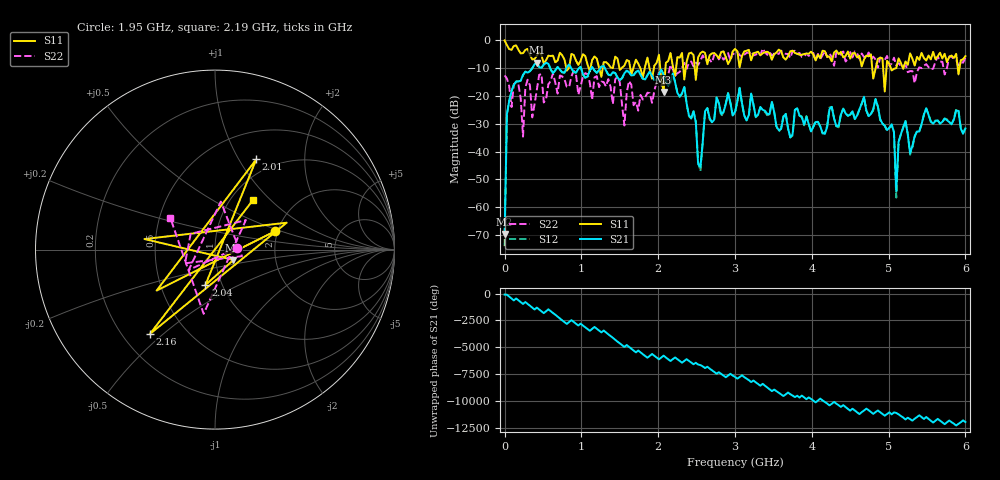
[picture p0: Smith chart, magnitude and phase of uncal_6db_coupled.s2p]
#  HZ  S  DB  R  50.0
! Rohde & Schwarz ZVL13 2Ports - Version 3.20 - 1303.6509k13 SN: 100953
! Date: 2024-10-09 08:19:45
! Data & Calibration Information:
! Trc1:S11(Cal Off) Trc4:S21(Cal Off) Trc2:S12(Cal Off) Trc3:S22(Cal Off)
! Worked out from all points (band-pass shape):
!   201 points, 9 kHz to 6 GHz, reference 50 ohm
!   highest |S21| = -7.99 dB at 420 MHz (marker M1); lowest = -69.6 dB at 9 kHz (marker M2)
!   |S21| within 3 dB of the highest: 332 MHz to 612.9 MHz (280.9 MHz wide, 59.5 % of centre); 1.221 GHz to 1.324 GHz (102.9 MHz wide, 8.08 % of centre) (the widest 2 of 9)
!   lowest |S11| = -18.6 dB at 2.07 GHz (marker M3), VSWR 1.27, Z = 61 - j7.17 ohm
!   |S11| at or under -10 dB: 1.767 GHz to 1.825 GHz (57.71 MHz wide, 3.21 % of centre); 1.888 GHz to 1.944 GHz (56.54 MHz wide, 2.95 % of centre); 2.027 GHz to 2.094 GHz (67.48 MHz wide, 3.27 % of centre) (the widest 3 of 16)
!   |S22| runs from -34.6 to -3.0 dB; largest |S21 - S12| = 0.0054
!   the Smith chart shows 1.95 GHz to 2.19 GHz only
!   S11 on the Smith chart (normalised r, x): 1.95 GHz: 1.94, +0.46; 2.01 GHz: 0.82, +1.19; 2.04 GHz: 0.83, -0.34; 2.16 GHz: 0.31, -0.45; 2.19 GHz: 1.26, +0.80
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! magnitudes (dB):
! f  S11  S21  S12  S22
! 9 kHz  0.0  -69.6  -74.0  -12.6
! 30.01 MHz  -1.7  -26.5  -26.7  -13.7
! 60.01 MHz  -3.1  -21.8  -21.8  -16.4
! 240 MHz  -4.6  -12.4  -12.5  -34.6
! 270 MHz  -3.4  -11.2  -11.2  -16.9
! 420 MHz  -5.5  -8.0  -7.9  -17.7
! 1.02 GHz  -4.9  -12.2  -12.3  -13.0
! 1.95 GHz  -9.1  -14.2  -14.2  -18.1
! 2.01 GHz  -5.1  -12.3  -12.3  -11.4
! 2.04 GHz  -13.8  -10.5  -10.4  -16.2
! 2.07 GHz  -18.6  -12.3  -12.3  -14.7
! 2.16 GHz  -4.5  -15.2  -15.2  -8.8
! 2.19 GHz  -9.1  -11.9  -12.0  -10.4
! 2.55 GHz  -4.5  -45.5  -47.0  -7.3
! 2.61 GHz  -4.5  -25.4  -25.7  -7.1
! 3 GHz  -3.1  -25.7  -26.4  -5.0
! 4.02 GHz  -5.0  -31.1  -30.9  -4.5
! 5.01 GHz  -8.4  -31.4  -31.5  -9.1
! 5.07 GHz  -10.2  -33.0  -33.1  -6.2
! 5.1 GHz  -9.9  -54.2  -56.5  -8.9
! 5.22 GHz  -7.6  -29.0  -29.0  -8.5
! 6 GHz  -5.6  -31.7  -31.6  -6.2
